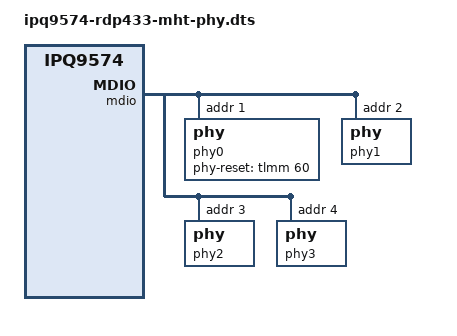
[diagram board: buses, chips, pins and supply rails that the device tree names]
// SPDX-License-Identifier: GPL-2.0-only
/*
* Copyright (c) 2023, Qualcomm Innovation Center, Inc. All rights reserved.
*/

#include "ipq9574-rdp433.dts"

/ {
	config_name = "config@al02-c7", "config@rdp433-mht-phy", "config-rdp433-mht-phy";

};

&phy_rst_pinmux {
	/delete-node/ qti_8085_rst;

	qti_8x8x_rst {
		pins = "GPIO_60";
		drive-strength = <DRIVE_STRENGTH_8MA>;
		bias-pull-up;
	};
};

/delete-node/ &phy0;
/delete-node/ &phy1;
/delete-node/ &phy2;
/delete-node/ &phy3;

&mdio {
	phy0: phy@1 {
		phy-reset-gpio = <&tlmm 60 0>;
		reg = <1>;
		phy_id = <8>;
		id = <1>;
		uniphy_id = <0>;
		uniphy_type = <0>;
	};

	phy1: phy@2 {
		reg = <2>;
		phy_id = <8>;
		id = <2>;
		uniphy_id = <0>;
		uniphy_type = <0>;
	};

	phy2: phy@3 {
		reg = <3>;
		phy_id = <8>;
		id = <3>;
		uniphy_id = <0>;
		uniphy_type = <0>;
	};

	phy3: phy@4 {
		reg = <4>;
		phy_id = <8>;
		id = <4>;
		uniphy_id = <0>;
		uniphy_type = <0>;
	};
};
